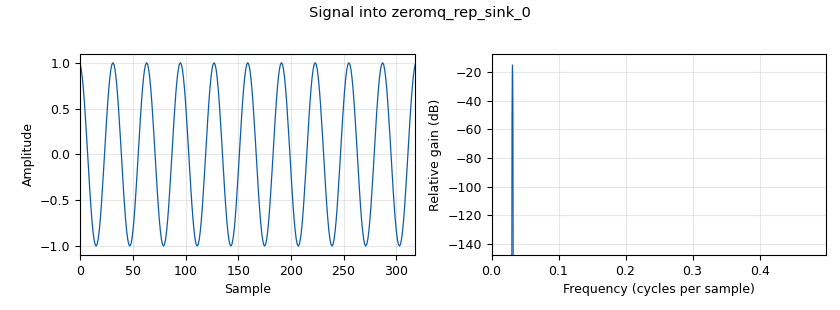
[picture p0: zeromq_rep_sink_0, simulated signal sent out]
options:
  parameters:
    generate_options: no_gui
    id: demo
    output_language: python
    title: Not titled yet
  states: {}

blocks:
- name: samp_rate
  id: variable
  parameters:
    value: '3200'
  states: {}
- name: analog_sig_source_x_0
  id: analog_sig_source_x
  parameters:
    amp: '1'
    freq: '100'
    offset: '0'
    phase: '0'
    samp_rate: samp_rate
    type: float
    waveform: analog.GR_COS_WAVE
  states: {}
- name: blocks_throttle_0
  id: blocks_throttle
  parameters:
    samples_per_second: samp_rate
    type: float
  states: {}
- name: zeromq_rep_sink_0
  id: zeromq_rep_sink
  parameters:
    address: tcp://127.0.0.1:5558
    timeout: '100'
    type: float
  states: {}

connections:
- [analog_sig_source_x_0, '0', blocks_throttle_0, '0']
- [blocks_throttle_0, '0', zeromq_rep_sink_0, '0']

metadata:
  file_format: 1
  grc_version: 3.10.5.1
